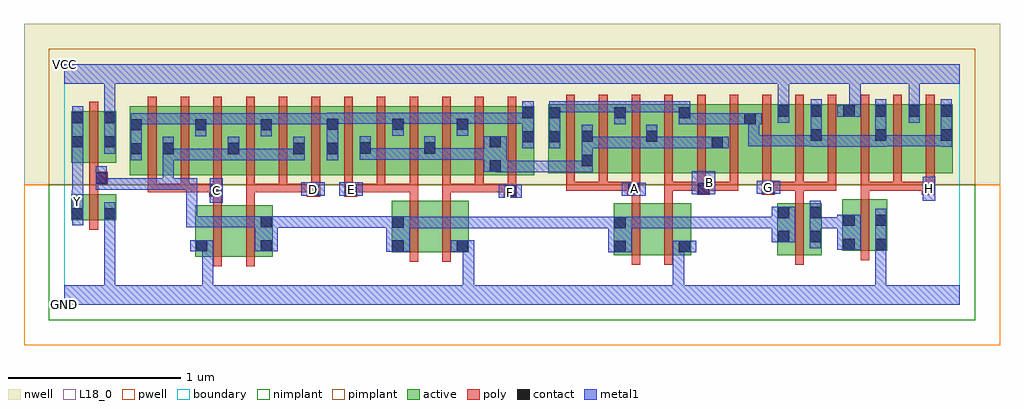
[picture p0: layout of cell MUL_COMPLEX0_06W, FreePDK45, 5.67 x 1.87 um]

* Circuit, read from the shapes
.subckt MUL_COMPLEX0_06W A B C D E F G GND H VCC Y
M1 GND n1 Y VSUBS nfet w=0.15u l=0.05u
M2 n2 C GND VSUBS nfet w=0.3u l=0.05u
M3 n1 D n2 VSUBS nfet w=0.3u l=0.05u
M4 n3 E n1 VSUBS nfet w=0.3u l=0.05u
M5 GND F n3 VSUBS nfet w=0.3u l=0.05u
M6 n4 A n1 VSUBS nfet w=0.3u l=0.05u
M7 GND B n4 VSUBS nfet w=0.3u l=0.05u
M8 n5 G n1 VSUBS nfet w=0.3u l=0.05u
M9 GND H n5 VSUBS nfet w=0.3u l=0.05u
M10 VCC n1 Y n6 pfet w=0.3u l=0.05u
M11 n1 C n7 n6 pfet w=0.4u l=0.05u m=3
M12 n7 D n1 n6 pfet w=0.4u l=0.05u m=3
M13 n8 E n7 n6 pfet w=0.4u l=0.05u m=3
M14 n7 F n8 n6 pfet w=0.4u l=0.05u m=3
M15 n8 A n9 n6 pfet w=0.4u l=0.05u m=3
M16 n9 B n8 n6 pfet w=0.4u l=0.05u m=3
M17 VCC G n9 n6 pfet w=0.4u l=0.05u m=3
M18 n9 H VCC n6 pfet w=0.4u l=0.05u m=3
.ends

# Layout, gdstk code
import gdstk
lib = gdstk.Library(unit=1e-6, precision=1e-09)
def R(c, l, rs):  # rectangles x0, y0, x1, y1
    for r in rs: c.add(gdstk.rectangle(r[:2], r[2:], *l))
def A(c, l, x, y, w, h, nx, ny, dx, dy):  # array of equal rectangles
    R(c, l, [(x+i*dx, y+j*dy, x+i*dx+w, y+j*dy+h) for i in range(nx) for j in range(ny)])
active = (1, 0)
pwell = (2, 0)
nwell = (3, 0)
nimplant = (4, 0)
pimplant = (5, 0)
poly = (9, 0)
contact = (10, 0)
metal1 = (11, 0)
L18_0 = (18, 0)
boundary = (235, 0)

mul_complex0_06w = lib.new_cell('MUL_COMPLEX0_06W')
A(mul_complex0_06w, active, 0.565, 0.755, 0.265, 0.4, 4, 1, 0.19, 0)
A(mul_complex0_06w, active, 0.565, 0.755, 0.075, 0.315, 3, 1, 0.38, 0)
A(mul_complex0_06w, active, 2.085, 0.755, 0.265, 0.4, 3, 1, 0.19, 0)
A(mul_complex0_06w, active, 3.375, 0.765, 0.265, 0.4, 3, 1, 0.19, 0)
A(mul_complex0_06w, active, 4.14, 0.765, 0.075, 0.4, 3, 1, 0.19, 0)
R(mul_complex0_06w, active, [(0.76,0.28,0.985,0.58), (0.985,0.28,1.21,0.58), (1.135,0.28,1.21,0.58), (3.19,0.29,3.265,0.59), (3.19,0.29,3.415,0.59), (3.415,0.29,3.64,0.59), (4.14,0.29,4.4,0.59), (3.565,0.302,3.64,0.59), (1.9,0.305,1.975,0.605), (1.9,0.305,2.125,0.605), (2.125,0.305,2.35,0.605), (2.275,0.305,2.35,0.605), (0.76,0.307,0.835,0.58), (4.52,0.315,4.595,0.615), (4.52,0.315,4.78,0.615), (4.705,0.315,4.78,0.615), (4.14,0.345,4.215,0.59), (4.325,0.345,4.4,0.59), (0.04,0.492,0.115,0.642), (0.04,0.492,0.3,0.642), (0.225,0.492,0.3,0.642), (0.38,0.755,0.455,1.155), (0.38,0.755,0.64,1.155), (0.755,0.755,0.83,1.155), (1.135,0.755,1.21,1.155), (1.325,0.755,1.595,1.155), (1.52,0.755,1.595,1.155), (1.52,0.755,1.785,1.155), (1.71,0.755,1.975,1.155), (1.71,0.755,1.785,1.07), (1.9,0.755,1.975,1.155), (1.9,0.755,2.16,1.155), (2.085,0.755,2.16,1.07), (2.275,0.755,2.35,1.155), (2.465,0.755,2.54,1.07), (2.655,0.755,2.73,1.155), (2.81,0.765,2.885,1.165), (2.81,0.765,3.075,1.165), (3,0.765,3.265,1.165), (3,0.765,3.075,1.07), (3.19,0.765,3.265,1.165), (3.19,0.765,3.45,1.165), (3.375,0.765,3.45,1.07), (3.565,0.765,3.64,1.165), (3.755,0.765,3.83,1.07), (3.945,0.765,4.215,1.165), (3.945,0.765,4.02,1.155), (4.14,0.765,4.405,1.165), (4.33,0.765,4.595,1.165), (4.52,0.765,4.78,1.165), (4.705,0.765,4.78,1.165), (4.705,0.765,4.975,1.165), (4.9,0.765,4.975,1.165), (4.9,0.765,5.16,1.165), (5.085,0.765,5.16,1.165), (0.04,0.825,0.115,1.125), (0.04,0.825,0.3,1.125), (0.225,0.825,0.3,1.125)])
R(mul_complex0_06w, pwell, [(-0.235,-0.235,5.435,0.7)])
R(mul_complex0_06w, nwell, [(-0.235,0.7,5.435,1.635)])
R(mul_complex0_06w, nimplant, [(-0.09,-0.09,5.29,0.7)])
R(mul_complex0_06w, pimplant, [(-0.09,0.7,5.29,1.49)])
A(mul_complex0_06w, poly, 0.485, 0.655, 0.05, 0.095, 12, 1, 0.19, 0)
A(mul_complex0_06w, poly, 2.915, 0.665, 0.05, 0.095, 12, 1, 0.19, 0)
A(mul_complex0_06w, poly, 0.485, 0.7, 0.05, 0.51, 12, 1, 0.19, 0)
A(mul_complex0_06w, poly, 2.915, 0.71, 0.05, 0.51, 12, 1, 0.19, 0)
R(mul_complex0_06w, poly, [(0.865,0.225,0.915,0.635), (1.055,0.225,1.105,0.635), (3.295,0.235,3.345,0.645), (3.485,0.235,3.535,0.645), (4.245,0.235,4.295,0.645), (2.005,0.25,2.055,0.66), (2.195,0.25,2.245,0.66), (4.625,0.26,4.675,0.67), (0.145,0.437,0.195,0.697), (0.865,0.585,0.915,0.68), (1.055,0.585,1.105,0.705), (3.295,0.595,3.345,0.69), (3.485,0.595,3.535,0.715), (4.245,0.595,4.295,0.715), (2.005,0.61,2.055,0.705), (2.195,0.61,2.245,0.705), (4.625,0.62,4.675,0.715), (0.84,0.63,0.915,0.705), (1.407,0.63,1.485,0.705), (1.625,0.63,1.702,0.705), (2.552,0.63,2.627,0.705), (3.27,0.64,3.345,0.715), (3.675,0.64,3.75,0.715), (4.052,0.64,4.127,0.715), (4.98,0.64,5.055,0.715), (0.145,0.647,0.195,0.75), (0.485,0.655,0.535,0.705), (0.485,0.655,0.535,0.705), (0.485,0.655,0.535,0.705), (0.485,0.655,0.725,0.705), (0.675,0.655,0.725,0.705), (0.675,0.655,0.725,0.705), (0.675,0.655,0.725,0.705), (0.675,0.655,0.89,0.705), (1.055,0.655,1.105,0.705), (1.055,0.655,1.105,0.705), (1.055,0.655,1.105,0.705), (1.055,0.655,1.295,0.705), (1.245,0.655,1.295,0.705), (1.245,0.655,1.295,0.705), (1.245,0.655,1.295,0.705), (1.245,0.655,1.457,0.705), (1.652,0.655,1.865,0.705), (1.815,0.655,1.865,0.705), (1.815,0.655,1.865,0.705), (1.815,0.655,1.865,0.705), (1.815,0.655,2.055,0.705), (2.005,0.655,2.055,0.705), (2.005,0.655,2.055,0.705), (2.005,0.655,2.055,0.705), (2.195,0.655,2.245,0.705), (2.195,0.655,2.245,0.705), (2.195,0.655,2.245,0.705), (2.195,0.655,2.435,0.705), (2.385,0.655,2.435,0.705), (2.385,0.655,2.435,0.705), (2.385,0.655,2.435,0.705), (2.385,0.655,2.602,0.705), (2.915,0.665,2.965,0.715), (2.915,0.665,2.965,0.715), (2.915,0.665,2.965,0.715), (2.915,0.665,3.155,0.715), (3.105,0.665,3.155,0.715), (3.105,0.665,3.32,0.715), (3.27,0.665,3.32,0.715), (3.27,0.665,3.32,0.715), (3.485,0.665,3.535,0.715), (3.485,0.665,3.535,0.715), (3.485,0.665,3.535,0.715), (3.485,0.665,3.725,0.715), (3.7,0.665,3.75,0.715), (3.7,0.665,3.75,0.715), (3.7,0.665,3.915,0.715), (3.865,0.665,3.915,0.715), (4.077,0.665,4.295,0.715), (4.245,0.665,4.295,0.715), (4.245,0.665,4.295,0.715), (4.245,0.665,4.295,0.715), (4.245,0.665,4.485,0.715), (4.435,0.665,4.485,0.715), (4.435,0.665,4.485,0.715), (4.435,0.665,4.485,0.715), (4.625,0.665,4.675,0.715), (4.625,0.665,4.675,0.715), (4.625,0.665,4.675,0.715), (4.625,0.665,4.865,0.715), (4.815,0.665,4.865,0.715), (4.815,0.665,5.03,0.715), (4.98,0.665,5.03,0.715), (4.98,0.665,5.03,0.715), (0.145,0.7,0.252,0.775), (0.145,0.725,0.195,0.82), (0.145,0.77,0.195,1.18)])
A(mul_complex0_06w, contact, 0.57, 0.877, 0.065, 0.065, 3, 1, 0.38, 0)
A(mul_complex0_06w, contact, 4.145, 1.095, 0.065, 0.065, 3, 1, 0.19, 0)
R(mul_complex0_06w, contact, [(3.195,0.307,3.26,0.372), (3.57,0.307,3.635,0.372), (1.905,0.31,1.97,0.375), (2.28,0.31,2.345,0.375), (0.765,0.312,0.83,0.377), (1.14,0.312,1.205,0.377), (4.525,0.32,4.59,0.385), (4.71,0.32,4.775,0.385), (4.145,0.365,4.21,0.43), (4.33,0.365,4.395,0.43), (3.195,0.447,3.26,0.512), (1.905,0.45,1.97,0.515), (1.14,0.452,1.205,0.517), (4.525,0.46,4.59,0.525), (4.71,0.46,4.775,0.525), (0.045,0.497,0.11,0.562), (0.23,0.497,0.295,0.562), (4.145,0.505,4.21,0.57), (4.33,0.505,4.395,0.57), (0.845,0.635,0.91,0.7), (1.412,0.635,1.477,0.7), (1.632,0.635,1.697,0.7), (2.557,0.635,2.622,0.7), (3.275,0.645,3.34,0.71), (3.68,0.645,3.745,0.71), (4.057,0.645,4.122,0.71), (4.985,0.645,5.05,0.71), (0.182,0.705,0.247,0.77), (2.47,0.775,2.535,0.84), (3.005,0.807,3.07,0.872), (0.385,0.875,0.45,0.94), (1.525,0.877,1.59,0.942), (1.715,0.88,1.78,0.945), (2.09,0.88,2.155,0.945), (3.76,0.912,3.825,0.977), (0.045,0.915,0.11,0.98), (0.23,0.915,0.295,0.98), (2.47,0.915,2.535,0.98), (2.66,0.945,2.725,1.01), (2.815,0.945,2.88,1.01), (3.005,0.947,3.07,1.012), (3.38,0.947,3.445,1.012), (4.335,0.955,4.4,1.02), (4.71,0.955,4.775,1.02), (5.09,0.955,5.155,1.02), (0.385,1.015,0.45,1.08), (0.76,1.015,0.825,1.08), (1.14,1.015,1.205,1.08), (1.525,1.017,1.59,1.082), (1.905,1.017,1.97,1.082), (2.28,1.017,2.345,1.082), (3.95,1.05,4.015,1.115), (0.045,1.055,0.11,1.12), (0.23,1.055,0.295,1.12), (2.66,1.085,2.725,1.15), (2.815,1.085,2.88,1.15), (3.195,1.085,3.26,1.15), (3.57,1.085,3.635,1.15), (4.71,1.095,4.775,1.16), (4.905,1.095,4.97,1.16), (5.09,1.095,5.155,1.16)])
A(mul_complex0_06w, metal1, 0.57, 0.842, 0.065, 0.135, 3, 1, 0.38, 0)
R(mul_complex0_06w, metal1, [(0,0,5.2,0.115), (0.23,0.05,0.295,0.115), (0.23,0.05,0.295,0.115), (0.23,0.05,0.295,0.527), (0.8,0.05,0.865,0.377), (2.315,0.05,2.38,0.375), (3.535,0.05,3.6,0.115), (3.535,0.05,3.6,0.115), (3.535,0.05,3.6,0.372), (4.71,0.05,4.775,0.115), (4.71,0.05,4.775,0.115), (4.71,0.05,4.775,0.115), (4.71,0.05,4.775,0.115), (4.71,0.05,4.775,0.35), (4.71,0.285,4.775,0.56), (3.16,0.307,3.295,0.512), (3.535,0.307,3.6,0.372), (3.535,0.307,3.6,0.372), (3.535,0.307,3.67,0.372), (1.87,0.31,2.005,0.515), (2.245,0.31,2.38,0.375), (2.315,0.31,2.38,0.375), (2.315,0.31,2.38,0.375), (2.315,0.31,2.38,0.375), (2.315,0.31,2.38,0.375), (0.73,0.312,0.865,0.377), (0.8,0.312,0.865,0.377), (0.8,0.312,0.865,0.377), (0.8,0.312,0.865,0.377), (0.8,0.312,0.865,0.377), (1.105,0.312,1.24,0.517), (4.49,0.32,4.625,0.525), (4.33,0.33,4.395,0.605), (4.11,0.365,4.245,0.57), (4.33,0.445,4.555,0.51), (4.49,0.445,4.555,0.51), (4.49,0.445,4.555,0.51), (1.94,0.447,2.005,0.512), (1.94,0.447,2.005,0.512), (1.94,0.447,2.172,0.512), (2.107,0.447,2.172,0.512), (2.107,0.447,2.172,0.512), (2.107,0.447,2.172,0.512), (2.107,0.447,2.362,0.512), (2.297,0.447,2.362,0.512), (2.297,0.447,2.362,0.512), (2.297,0.447,2.362,0.512), (2.297,0.447,2.587,0.512), (2.522,0.447,2.587,0.512), (2.522,0.447,2.742,0.512), (2.677,0.447,2.742,0.512), (2.677,0.447,2.742,0.512), (2.677,0.447,2.742,0.512), (2.677,0.447,2.902,0.512), (2.837,0.447,2.902,0.512), (2.837,0.447,2.902,0.512), (2.837,0.447,2.902,0.512), (2.837,0.447,3.087,0.512), (3.022,0.447,3.087,0.512), (3.022,0.447,3.087,0.512), (3.022,0.447,3.087,0.512), (3.022,0.447,3.225,0.512), (3.23,0.447,3.295,0.512), (3.23,0.447,3.295,0.512), (3.23,0.447,3.445,0.512), (3.38,0.447,3.445,0.512), (3.38,0.447,3.445,0.512), (3.38,0.447,3.445,0.512), (3.38,0.447,3.582,0.512), (3.517,0.447,3.582,0.512), (3.517,0.447,3.582,0.512), (3.517,0.447,3.582,0.512), (3.517,0.447,3.842,0.512), (3.777,0.447,3.842,0.512), (3.777,0.447,3.842,0.512), (3.777,0.447,3.842,0.512), (3.777,0.447,3.997,0.512), (3.932,0.447,3.997,0.512), (3.932,0.447,3.997,0.512), (3.932,0.447,3.997,0.512), (3.932,0.447,4.175,0.512), (1.175,0.45,1.24,0.515), (1.175,0.45,1.24,0.515), (1.175,0.45,1.452,0.515), (1.387,0.45,1.452,0.515), (1.387,0.45,1.452,0.515), (1.387,0.45,1.452,0.515), (1.387,0.45,1.59,0.515), (1.525,0.45,1.59,0.515), (1.525,0.45,1.59,0.515), (1.525,0.45,1.59,0.515), (1.525,0.45,1.797,0.515), (1.732,0.45,1.797,0.515), (1.732,0.45,1.797,0.515), (1.732,0.45,1.797,0.515), (1.732,0.45,1.935,0.515), (0.707,0.452,0.772,0.517), (0.707,0.452,0.772,0.517), (0.707,0.452,0.772,0.517), (0.707,0.452,1.032,0.517), (0.707,0.452,0.772,0.735), (0.967,0.452,1.032,0.517), (0.967,0.452,1.032,0.517), (0.967,0.452,1.032,0.517), (0.967,0.452,1.17,0.517), (0.045,0.462,0.11,0.597), (0.23,0.462,0.295,0.527), (0.23,0.462,0.295,0.527), (0.23,0.462,0.295,0.527), (0.23,0.462,0.295,0.527), (0.23,0.462,0.295,0.597), (0.042,0.532,0.11,0.667), (0.045,0.532,0.11,0.597), (0.845,0.595,0.92,0.735), (0.045,0.602,0.11,0.945), (4.985,0.605,5.06,0.745), (2.522,0.622,2.657,0.7), (1.377,0.635,1.512,0.712), (1.597,0.635,1.732,0.712), (3.237,0.635,3.377,0.71), (3.645,0.642,3.78,0.777), (4.022,0.645,4.157,0.722), (0.182,0.67,0.247,0.735), (0.182,0.67,0.247,0.735), (0.182,0.67,0.247,0.805), (0.182,0.67,0.497,0.735), (0.432,0.67,0.497,0.735), (0.432,0.67,0.497,0.735), (0.432,0.67,0.497,0.735), (0.432,0.67,0.635,0.735), (0.57,0.67,0.635,0.735), (0.57,0.67,0.635,0.735), (0.57,0.67,0.635,0.735), (0.57,0.67,0.772,0.735), (0.57,0.67,0.635,0.907), (0.707,0.67,0.772,0.735), (2.505,0.772,2.742,0.837), (2.505,0.772,2.57,0.84), (2.677,0.772,2.742,0.837), (2.677,0.772,2.88,0.837), (2.815,0.772,2.88,0.837), (2.815,0.772,2.88,0.837), (2.815,0.772,2.88,0.837), (2.815,0.772,3.07,0.837), (3.005,0.772,3.07,1.047), (2.435,0.775,2.57,0.98), (2.505,0.775,2.57,0.84), (0.385,0.84,0.45,1.115), (0.57,0.842,0.635,0.907), (0.57,0.842,0.635,0.907), (0.57,0.842,0.772,0.907), (0.707,0.842,0.772,0.907), (0.707,0.842,0.772,0.907), (0.707,0.842,0.772,0.907), (0.707,0.842,1.015,0.907), (0.95,0.842,1.015,0.907), (0.95,0.842,1.015,0.907), (0.95,0.842,1.257,0.907), (1.192,0.842,1.257,0.907), (1.192,0.842,1.257,0.907), (1.192,0.842,1.257,0.907), (1.192,0.842,1.395,0.907), (1.525,0.842,1.59,1.117), (1.715,0.845,1.78,0.91), (1.715,0.845,1.78,0.91), (1.715,0.845,1.78,0.98), (1.715,0.845,2.017,0.91), (1.952,0.845,2.017,0.91), (1.952,0.845,2.017,0.91), (1.952,0.845,2.017,0.91), (1.952,0.845,2.155,0.91), (2.09,0.845,2.155,0.91), (2.09,0.845,2.155,0.91), (2.09,0.845,2.155,0.98), (2.09,0.845,2.362,0.91), (2.297,0.845,2.362,0.91), (2.297,0.845,2.362,0.91), (2.297,0.845,2.362,0.91), (2.297,0.845,2.5,0.91), (0.045,0.88,0.11,1.155), (0.23,0.88,0.295,1.155), (2.66,0.91,2.725,1.185), (2.815,0.91,2.88,1.185), (3.005,0.912,3.07,0.977), (3.005,0.912,3.07,0.977), (3.005,0.912,3.307,0.977), (3.242,0.912,3.307,0.977), (3.242,0.912,3.307,0.977), (3.242,0.912,3.307,0.977), (3.242,0.912,3.445,0.977), (3.38,0.912,3.445,0.977), (3.38,0.912,3.445,0.977), (3.38,0.912,3.445,1.047), (3.38,0.912,3.582,0.977), (3.517,0.912,3.582,0.977), (3.517,0.912,3.582,0.977), (3.517,0.912,3.582,0.977), (3.517,0.912,3.79,0.977), (3.725,0.912,3.86,0.977), (4.335,0.92,4.4,1.195), (4.335,0.92,4.537,0.985), (4.472,0.92,4.537,0.985), (4.472,0.92,4.537,0.985), (4.472,0.92,4.537,0.985), (4.472,0.92,4.775,0.985), (4.71,0.92,4.775,0.985), (4.71,0.92,4.775,0.985), (4.71,0.92,4.775,1.195), (5.09,0.92,5.155,1.195), (3.972,0.922,4.037,0.987), (3.972,0.922,4.187,0.987), (3.972,0.922,4.037,1.115), (4.122,0.922,4.187,0.987), (4.122,0.922,4.187,0.987), (4.122,0.922,4.187,0.987), (4.122,0.922,4.4,0.987), (4.335,0.922,4.4,0.987), (4.335,0.922,4.4,0.987), (4.71,0.922,4.912,0.987), (4.847,0.922,4.912,0.987), (4.847,0.922,4.912,0.987), (4.847,0.922,4.912,0.987), (4.847,0.922,5.155,0.987), (5.09,0.922,5.155,0.987), (5.09,0.922,5.155,0.987), (0.76,0.98,0.825,1.115), (1.14,0.98,1.205,1.115), (1.905,0.982,1.97,1.117), (2.28,0.982,2.345,1.117), (0.385,1.05,0.45,1.115), (0.385,1.05,0.45,1.115), (0.385,1.05,0.635,1.115), (0.57,1.05,0.635,1.115), (0.57,1.05,0.635,1.115), (0.57,1.05,0.635,1.115), (0.57,1.05,0.825,1.115), (0.76,1.05,0.825,1.115), (0.76,1.05,0.825,1.115), (0.76,1.05,1.032,1.115), (0.967,1.05,1.032,1.115), (0.967,1.05,1.032,1.115), (0.967,1.05,1.032,1.115), (0.967,1.05,1.205,1.115), (1.14,1.05,1.205,1.115), (1.14,1.05,1.205,1.115), (1.14,1.05,1.395,1.115), (1.33,1.05,1.395,1.115), (1.33,1.05,1.395,1.115), (1.33,1.05,1.395,1.115), (1.33,1.05,1.59,1.115), (3.195,1.05,3.26,1.185), (3.57,1.05,3.635,1.115), (3.57,1.05,3.635,1.115), (3.57,1.05,3.635,1.185), (3.57,1.05,3.842,1.115), (3.777,1.05,3.842,1.115), (3.777,1.05,3.842,1.115), (3.777,1.05,3.842,1.115), (3.777,1.05,3.98,1.115), (3.915,1.05,4.05,1.115), (1.525,1.052,1.59,1.117), (1.525,1.052,1.59,1.117), (1.525,1.052,1.797,1.117), (1.732,1.052,1.797,1.117), (1.732,1.052,1.797,1.117), (1.732,1.052,1.797,1.117), (1.732,1.052,1.97,1.117), (1.905,1.052,1.97,1.117), (1.905,1.052,1.97,1.117), (1.905,1.052,2.172,1.117), (2.107,1.052,2.172,1.117), (2.107,1.052,2.172,1.117), (2.107,1.052,2.172,1.117), (2.107,1.052,2.345,1.117), (2.28,1.052,2.345,1.117), (2.28,1.052,2.345,1.117), (2.28,1.052,2.587,1.117), (2.522,1.052,2.587,1.117), (2.522,1.052,2.587,1.117), (2.522,1.052,2.587,1.117), (2.522,1.052,2.725,1.117), (4.145,1.06,4.21,1.195), (4.905,1.06,4.97,1.195), (0.23,1.09,0.295,1.155), (0.23,1.09,0.295,1.155), (0.23,1.09,0.295,1.35), (4.49,1.095,4.625,1.16), (4.56,1.095,4.625,1.35), (2.815,1.12,2.88,1.185), (2.815,1.12,2.88,1.185), (2.815,1.12,3.04,1.185), (2.975,1.12,3.04,1.185), (2.975,1.12,3.04,1.185), (2.975,1.12,3.04,1.185), (2.975,1.12,3.26,1.185), (3.195,1.12,3.26,1.185), (3.195,1.12,3.26,1.185), (3.195,1.12,3.445,1.185), (3.38,1.12,3.445,1.185), (3.38,1.12,3.445,1.185), (3.38,1.12,3.445,1.185), (3.38,1.12,3.635,1.185), (4.145,1.13,4.21,1.35), (4.905,1.13,4.97,1.35), (0,1.285,5.2,1.4)])
R(mul_complex0_06w, L18_0, [(0,0,5.2,0.115), (0.23,0.05,0.295,0.115), (0.23,0.05,0.295,0.115), (0.23,0.05,0.295,0.527), (0.8,0.05,0.865,0.377), (2.315,0.05,2.38,0.375), (3.535,0.05,3.6,0.115), (3.535,0.05,3.6,0.115), (3.535,0.05,3.6,0.372), (4.71,0.05,4.775,0.115), (4.71,0.05,4.775,0.115), (4.71,0.05,4.775,0.115), (4.71,0.05,4.775,0.115), (4.71,0.05,4.775,0.35), (4.71,0.285,4.775,0.56), (3.535,0.307,3.6,0.372), (3.535,0.307,3.6,0.372), (3.535,0.307,3.67,0.372), (2.245,0.31,2.38,0.375), (2.315,0.31,2.38,0.375), (2.315,0.31,2.38,0.375), (2.315,0.31,2.38,0.375), (2.315,0.31,2.38,0.375), (0.73,0.312,0.865,0.377), (0.8,0.312,0.865,0.377), (0.8,0.312,0.865,0.377), (0.8,0.312,0.865,0.377), (0.8,0.312,0.865,0.377), (0.045,0.462,0.11,0.597), (0.23,0.462,0.295,0.597), (0.23,0.462,0.295,0.527), (0.23,0.462,0.295,0.527), (0.23,0.462,0.295,0.527), (0.23,0.462,0.295,0.527), (0.042,0.532,0.11,0.667), (0.045,0.532,0.11,0.597), (0.042,0.567,0.107,0.632), (0.845,0.595,0.92,0.735), (0.045,0.602,0.11,0.945), (4.985,0.605,5.06,0.745), (2.522,0.622,2.657,0.7), (2.557,0.622,2.622,0.687), (0.852,0.632,0.917,0.697), (1.377,0.635,1.512,0.712), (1.597,0.635,1.732,0.712), (3.237,0.635,3.377,0.71), (1.412,0.637,1.477,0.702), (1.632,0.637,1.697,0.702), (3.277,0.642,3.342,0.707), (3.645,0.642,3.78,0.777), (4.992,0.642,5.057,0.707), (4.022,0.645,4.157,0.722), (4.057,0.647,4.122,0.712), (3.712,0.677,3.777,0.742), (0.045,0.88,0.11,1.155), (0.23,0.88,0.295,1.155), (4.145,1.06,4.21,1.195), (4.905,1.06,4.97,1.195), (0.23,1.09,0.295,1.155), (0.23,1.09,0.295,1.155), (0.23,1.09,0.295,1.35), (4.49,1.095,4.625,1.16), (4.56,1.095,4.625,1.35), (4.145,1.13,4.21,1.35), (4.905,1.13,4.97,1.35), (0,1.285,5.2,1.4)])
R(mul_complex0_06w, boundary, [(0,0,5.2,1.4)])
mul_complex0_06w.add(gdstk.Label('A', (3.31,0.675), layer=11, texttype=0))
mul_complex0_06w.add(gdstk.Label('B', (3.745,0.71), layer=11, texttype=0))
mul_complex0_06w.add(gdstk.Label('C', (0.885,0.665), layer=11, texttype=0))
mul_complex0_06w.add(gdstk.Label('D', (1.445,0.67), layer=11, texttype=0))
mul_complex0_06w.add(gdstk.Label('E', (1.665,0.67), layer=11, texttype=0))
mul_complex0_06w.add(gdstk.Label('F', (2.59,0.655), layer=11, texttype=0))
mul_complex0_06w.add(gdstk.Label('G', (4.09,0.68), layer=11, texttype=0))
mul_complex0_06w.add(gdstk.Label('H', (5.025,0.675), layer=11, texttype=0))
mul_complex0_06w.add(gdstk.Label('Y', (0.075,0.6), layer=11, texttype=0))
mul_complex0_06w.add(gdstk.Label('VCC', (0,1.4), layer=11, texttype=0))
mul_complex0_06w.add(gdstk.Label('GND', (0,0), layer=11, texttype=0))

lib.write_gds('MUL_COMPLEX0_06W.gds')
